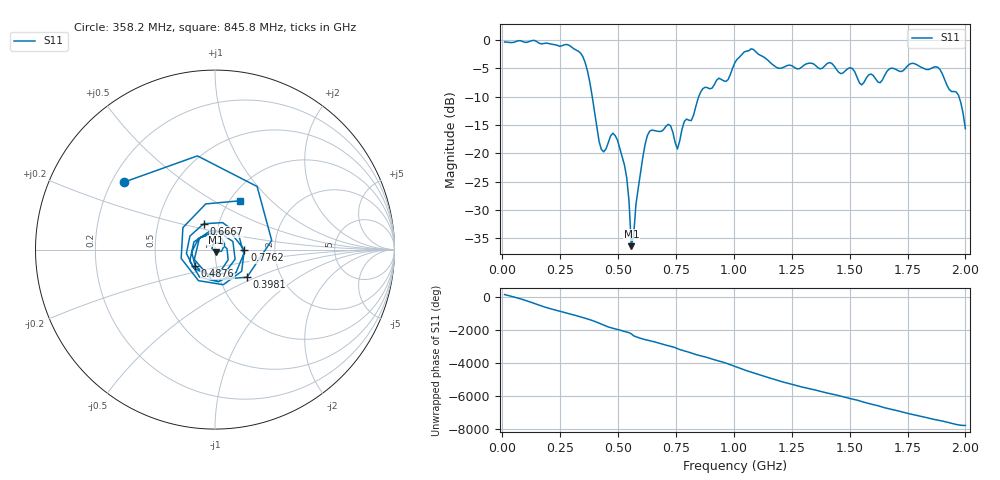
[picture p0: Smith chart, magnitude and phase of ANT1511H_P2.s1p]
!Created with skrf (http://scikit-rf.org).
# Hz S RI R 50.0
!freq ReS11 ImS11
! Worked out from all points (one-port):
!   201 points, 10 MHz to 2 GHz, reference 50 ohm
!   lowest |S11| = -36.4 dB at 557.2 MHz (marker M1), VSWR 1.03, Z = 50.3 - j1.49 ohm
!   |S11| at or under -10 dB: 388.5 MHz to 848.5 MHz (460 MHz wide, 74.4 % of centre); 1.972 GHz to end of sweep
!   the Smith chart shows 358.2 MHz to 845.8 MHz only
!   S11 on the Smith chart (normalised r, x): 358.2 MHz: 0.25, +0.31; 398.1 MHz: 1.35, -0.44; 487.6 MHz: 0.79, -0.15; 666.7 MHz: 0.85, +0.25; 776.1 MHz: 1.39, -0.01; 845.8 MHz: 1.12, +0.67
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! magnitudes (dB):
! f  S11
! 10 MHz  -0.3
! 258.8 MHz  -1.0
! 358.2 MHz  -4.0
! 398.1 MHz  -12.6
! 427.9 MHz  -19.3
! 487.6 MHz  -16.9
! 507.5 MHz  -19.1
! 537.4 MHz  -24.3
! 547.3 MHz  -28.4
! 557.2 MHz  -36.4
! 617 MHz  -18.4
! 666.7 MHz  -16.1
! 726.4 MHz  -15.1
! 756.2 MHz  -19.2
! 776.1 MHz  -15.7
! 816 MHz  -14.2
! 845.8 MHz  -10.3
! 975.1 MHz  -7.0
! 1.005 GHz  -3.9
! 1.075 GHz  -1.5
! 1.184 GHz  -4.8
! 1.254 GHz  -4.6
! 1.502 GHz  -4.9
! 1.552 GHz  -7.9
! 1.751 GHz  -4.5
! 1.891 GHz  -5.2
! 1.97 GHz  -9.7
! 2 GHz  -15.6
